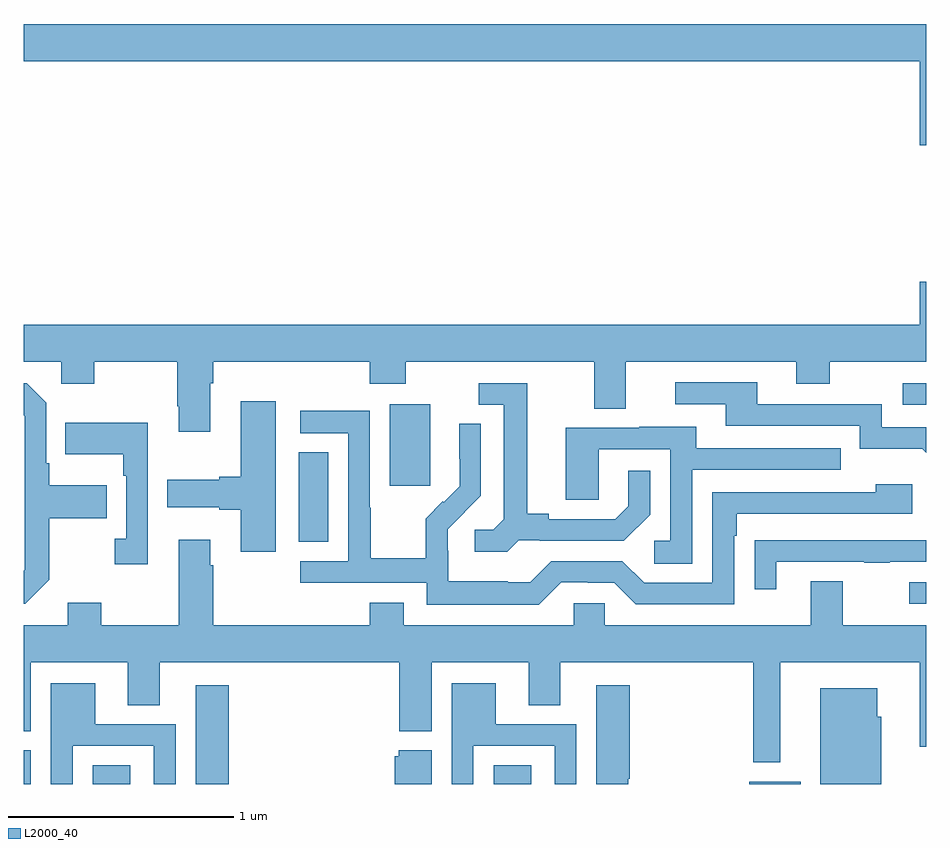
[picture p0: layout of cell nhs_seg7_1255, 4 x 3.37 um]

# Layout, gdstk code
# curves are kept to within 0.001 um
import gdstk
lib = gdstk.Library(unit=1e-6, precision=1e-09)
def R(c, l, rs):  # rectangles x0, y0, x1, y1
    for r in rs: c.add(gdstk.rectangle(r[:2], r[2:], *l))
def P(c, l, *ps):  # polygons
    for p in ps: c.add(gdstk.Polygon(p, *l))
L2000_40 = (2000, 40)

nhs_seg7_1255 = lib.new_cell('nhs_seg7_1255')
R(nhs_seg7_1255, L2000_40, [(197,1076,197.032,1076.149), (197.306,1076,197.473,1076.084), (197.762,1076,197.909,1076.437), (199.082,1076,199.249,1076.084), (200.216,1076,200.443,1076.011), (200.925,1076.799,201,1076.895), (198.218,1077.073,198.349,1077.47), (198.623,1077.321,198.802,1077.682), (200.895,1077.681,201,1077.777)])
P(nhs_seg7_1255, L2000_40, [(201,1079.368),(197,1079.368),(197,1079.204),(200.972,1079.204),(200.972,1078.83),(201,1078.83)],
  [(197.827,1077.776),(197.84,1077.776),(197.84,1077.872),(198.533,1077.872),(198.533,1077.773),(198.693,1077.773),(198.693,1077.872),(199.529,1077.872),(199.529,1077.664),(199.669,1077.664),(199.669,1077.872),(200.423,1077.872),(200.423,1077.773),(200.571,1077.773),(200.571,1077.872),(201,1077.872),(201,1078.225),(200.972,1078.225),(200.972,1078.036),(197,1078.036),(197,1077.872),(197.166,1077.872),(197.166,1077.773),(197.313,1077.773),(197.313,1077.872),(197.68,1077.872),(197.68,1077.673),(197.687,1077.673),(197.687,1077.561),(197.827,1077.561)],
  [(201,1077.582),(200.802,1077.582),(200.802,1077.684),(200.251,1077.684),(200.251,1077.78),(199.887,1077.78),(199.887,1077.684),(200.111,1077.684),(200.111,1077.588),(200.706,1077.588),(200.706,1077.485),(200.983,1077.485),(201,1077.468)],
  [(197.113,1076.905),(197.113,1077.178),(197.369,1077.178),(197.369,1077.325),(197.113,1077.325),(197.113,1077.421),(197.1,1077.421),(197.1,1077.69),(197.013,1077.777),(197,1077.777),(197,1077.634),(197.004,1077.63),(197.004,1076.949),(197,1076.945),(197,1076.799),(197.007,1076.799)],
  [(199.194,1077.081),(199.288,1077.081),(199.288,1077.078),(199.66,1077.078),(199.776,1077.194),(199.776,1077.388),(199.679,1077.388),(199.679,1077.231),(199.622,1077.174),(199.327,1077.174),(199.327,1077.197),(199.231,1077.197),(199.231,1077.777),(199.017,1077.777),(199.017,1077.681),(199.127,1077.681),(199.127,1077.173),(199.08,1077.126),(198.999,1077.126),(198.999,1077.029),(199.142,1077.029)],
  [(198.118,1077.697),(197.963,1077.697),(197.963,1077.362),(197.867,1077.362),(197.867,1077.349),(197.637,1077.349),(197.637,1077.227),(197.867,1077.227),(197.867,1077.215),(197.963,1077.215),(197.963,1077.03),(198.118,1077.03)],
  [(199.383,1076.895),(199.499,1076.895),(199.499,1076.892),(199.617,1076.892),(199.713,1076.796),(200.148,1076.796),(200.148,1077.101),(200.161,1077.101),(200.161,1077.198),(200.938,1077.198),(200.938,1077.328),(200.777,1077.328),(200.777,1077.294),(200.052,1077.294),(200.052,1076.892),(199.749,1076.892),(199.653,1076.988),(199.338,1076.988),(199.245,1076.895),(199.145,1076.895),(199.145,1076.899),(198.882,1076.899),(198.882,1077.033),(198.88,1077.033),(198.88,1077.13),(199.026,1077.278),(199.026,1077.596),(198.93,1077.596),(198.93,1077.442),(198.932,1077.442),(198.932,1077.32),(198.861,1077.249),(198.858,1077.252),(198.781,1077.175),(198.781,1077.001),(198.537,1077.001),(198.537,1077.224),(198.534,1077.224),(198.534,1077.654),(198.225,1077.654),(198.225,1077.555),(198.438,1077.555),(198.438,1076.988),(198.225,1076.988),(198.225,1076.892),(198.786,1076.892),(198.786,1076.795),(199.283,1076.795)],
  [(197.55,1077.601),(197.185,1077.601),(197.185,1077.461),(197.442,1077.461),(197.442,1077.365),(197.454,1077.365),(197.454,1077.086),(197.403,1077.086),(197.403,1076.973),(197.55,1076.973)],
  [(199.962,1077.393),(200.621,1077.393),(200.621,1077.489),(199.981,1077.489),(199.981,1077.583),(199.727,1077.583),(199.727,1077.579),(199.403,1077.579),(199.403,1077.259),(199.548,1077.259),(199.548,1077.483),(199.866,1077.483),(199.866,1077.078),(199.794,1077.078),(199.794,1076.977),(199.962,1076.977)],
  [(197.343,1076.803),(197.195,1076.803),(197.195,1076.704),(197,1076.704),(197,1076.234),(197.032,1076.234),(197.032,1076.54),(197.462,1076.54),(197.462,1076.35),(197.602,1076.35),(197.602,1076.54),(198.665,1076.54),(198.665,1076.234),(198.808,1076.234),(198.808,1076.54),(199.238,1076.54),(199.238,1076.35),(199.378,1076.35),(199.378,1076.54),(200.232,1076.54),(200.232,1076.096),(200.353,1076.096),(200.353,1076.54),(200.972,1076.54),(200.972,1076.166),(201,1076.166),(201,1076.704),(200.629,1076.704),(200.629,1076.899),(200.489,1076.899),(200.489,1076.704),(199.575,1076.704),(199.575,1076.802),(199.437,1076.802),(199.437,1076.704),(198.685,1076.704),(198.685,1076.803),(198.533,1076.803),(198.533,1076.704),(197.84,1076.704),(197.84,1076.969),(197.827,1076.969),(197.827,1077.082),(197.687,1077.082),(197.687,1076.704),(197.343,1076.704)],
  [(200.335,1076.985),(200.725,1076.985),(200.725,1076.98),(200.837,1076.98),(200.837,1076.985),(201,1076.985),(201,1077.081),(200.341,1077.081),(200.341,1077.08),(200.239,1077.08),(200.239,1076.862),(200.335,1076.862)],
  [(197.217,1076.169),(197.577,1076.169),(197.577,1076),(197.673,1076),(197.673,1076.265),(197.317,1076.265),(197.317,1076.446),(197.121,1076.446),(197.121,1076),(197.217,1076)],
  [(198.993,1076.169),(199.353,1076.169),(199.353,1076),(199.449,1076),(199.449,1076.265),(199.093,1076.265),(199.093,1076.446),(198.897,1076.446),(198.897,1076),(198.993,1076)],
  [(199.68,1076.024),(199.685,1076.024),(199.685,1076.437),(199.538,1076.437),(199.538,1076),(199.68,1076)],
  [(200.8,1076.298),(200.782,1076.298),(200.782,1076.425),(200.531,1076.425),(200.531,1076),(200.8,1076)],
  [(198.808,1076.149),(198.663,1076.149),(198.663,1076.124),(198.644,1076.124),(198.644,1076),(198.808,1076)])

lib.write_gds('nhs_seg7_1255.gds')
